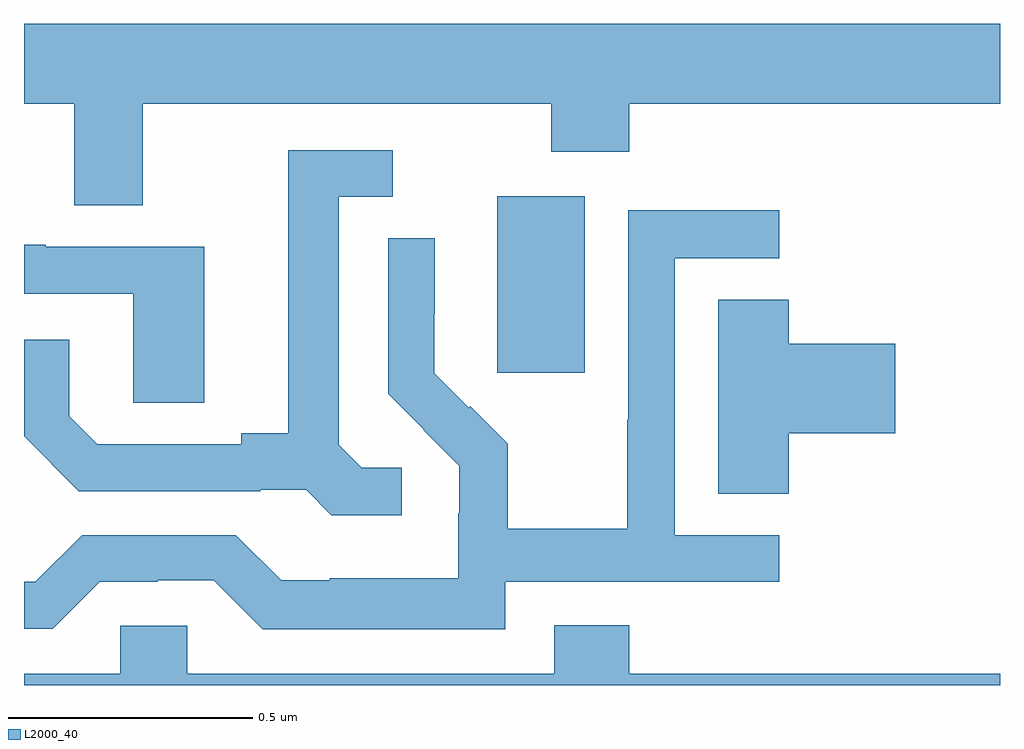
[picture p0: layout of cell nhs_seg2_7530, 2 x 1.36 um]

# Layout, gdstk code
import gdstk
lib = gdstk.Library(unit=1e-6, precision=1e-09)
def R(c, l, rs):  # rectangles x0, y0, x1, y1
    for r in rs: c.add(gdstk.rectangle(r[:2], r[2:], *l))
def P(c, l, *ps):  # polygons
    for p in ps: c.add(gdstk.Polygon(p, *l))
L2000_40 = (2000, 40)

nhs_seg2_7530 = lib.new_cell('nhs_seg2_7530')
R(nhs_seg2_7530, L2000_40, [(205.97,624.441,206.149,624.802)])
P(nhs_seg2_7530, L2000_40, [(205.243,624.992),(206.08,624.992),(206.08,624.893),(206.24,624.893),(206.24,624.992),(207,624.992),(207,625.156),(205,625.156),(205,624.992),(205.103,624.992),(205.103,624.784),(205.243,624.784)],
  [(205.774,624.246),(205.692,624.246),(205.645,624.293),(205.645,624.801),(205.756,624.801),(205.756,624.897),(205.541,624.897),(205.541,624.317),(205.445,624.317),(205.445,624.294),(205.15,624.294),(205.093,624.351),(205.093,624.508),(205,624.508),(205,624.31),(205.112,624.198),(205.484,624.198),(205.484,624.201),(205.578,624.201),(205.63,624.149),(205.774,624.149)],
  [(205.986,624.012),(206.548,624.012),(206.548,624.108),(206.334,624.108),(206.334,624.675),(206.548,624.675),(206.548,624.774),(206.238,624.774),(206.238,624.344),(206.236,624.344),(206.236,624.121),(205.991,624.121),(205.991,624.295),(205.914,624.372),(205.911,624.369),(205.841,624.44),(205.841,624.562),(205.842,624.562),(205.842,624.716),(205.746,624.716),(205.746,624.398),(205.819,624.325),(205.818,624.324),(205.892,624.25),(205.892,624.153),(205.89,624.153),(205.89,624.019),(205.627,624.019),(205.627,624.015),(205.527,624.015),(205.434,624.108),(205.119,624.108),(205.023,624.012),(205,624.012),(205,623.916),(205.059,623.916),(205.155,624.012),(205.274,624.012),(205.274,624.015),(205.389,624.015),(205.489,623.915),(205.986,623.915)],
  [(205.369,624.699),(205.045,624.699),(205.045,624.703),(205,624.703),(205,624.603),(205.224,624.603),(205.224,624.379),(205.369,624.379)],
  [(206.567,624.317),(206.785,624.317),(206.785,624.5),(206.567,624.5),(206.567,624.59),(206.423,624.59),(206.423,624.193),(206.567,624.193)],
  [(207,623.824),(206.24,623.824),(206.24,623.923),(206.087,623.923),(206.087,623.824),(205.335,623.824),(205.335,623.922),(205.197,623.922),(205.197,623.824),(205,623.824),(205,623.8),(207,623.8)])

lib.write_gds('nhs_seg2_7530.gds')
